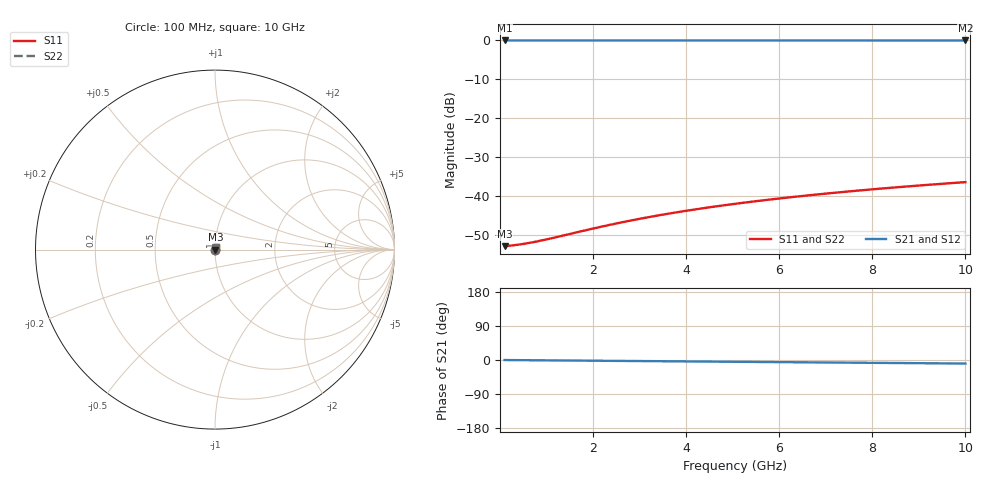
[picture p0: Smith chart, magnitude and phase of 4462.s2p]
# Hz S RI R 50.00
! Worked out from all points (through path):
!   100 points, 100 MHz to 10 GHz, reference 50 ohm
!   highest |S21| = -0.02 dB at 100 MHz (marker M1); lowest = 0.0 dB at 10 GHz (marker M2)
!   group delay of S21, straight-line fit = 2.59 ps
!   lowest |S11| = -53.0 dB at 100 MHz (marker M3), VSWR 1.00, Z = 50.2 + j0.0146 ohm
!   |S11| at or under -10 dB: start of sweep to end of sweep
!   |S22| runs from -53.0 to -36.5 dB; largest |S21 - S12| = 0
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1e8  0.00224 0.000145  0.9978 -0.00162  0.9978 -0.00162  0.00224 0.000145
3e8  0.00227 0.000435  0.9977 -0.00487  0.9977 -0.00487  0.00227 0.000435
4e8  0.00228 0.000581  0.9977 -0.0065  0.9977 -0.0065  0.00228 0.000581
5e8  0.00229 0.000726  0.9977 -0.00812  0.9977 -0.00812  0.00229 0.000726
7e8  0.0023 0.00102  0.9976 -0.0114  0.9976 -0.0114  0.0023 0.00102
9e8  0.00232 0.00131  0.9976 -0.0146  0.9976 -0.0146  0.00232 0.00131
1.1e9  0.00234 0.0016  0.9975 -0.0179  0.9975 -0.0179  0.00234 0.0016
1.8e9  0.00241 0.00261  0.9972 -0.0292  0.9972 -0.0292  0.00241 0.00261
2.2e9  0.00246 0.00319  0.997 -0.0357  0.997 -0.0357  0.00246 0.00319
2.6e9  0.00251 0.00376  0.9967 -0.0422  0.9967 -0.0422  0.00251 0.00376
3e9  0.00257 0.00434  0.9964 -0.0487  0.9964 -0.0487  0.00257 0.00434
3.4e9  0.00264 0.00492  0.996 -0.0552  0.996 -0.0552  0.00264 0.00492
3.8e9  0.00272 0.00549  0.9956 -0.0617  0.9956 -0.0617  0.00272 0.00549
4.2e9  0.0028 0.00606  0.9952 -0.0682  0.9952 -0.0682  0.0028 0.00606
4.6e9  0.00289 0.00664  0.9947 -0.0746  0.9947 -0.0746  0.00289 0.00664
5.1e9  0.00301 0.00735  0.9941 -0.0827  0.9941 -0.0827  0.00301 0.00735
5.9e9  0.00324 0.00848  0.9929 -0.0957  0.9929 -0.0957  0.00324 0.00848
6.7e9  0.00349 0.00961  0.9915 -0.1086  0.9915 -0.1086  0.00349 0.00961
7.5e9  0.00377 0.0107  0.99 -0.1215  0.99 -0.1215  0.00377 0.0107
8.4e9  0.00412 0.012  0.988 -0.136  0.988 -0.136  0.00412 0.012
9.2e9  0.00446 0.0131  0.9861 -0.1489  0.9861 -0.1489  0.00446 0.0131
1e10  0.00483 0.0142  0.9841 -0.1618  0.9841 -0.1618  0.00483 0.0142
